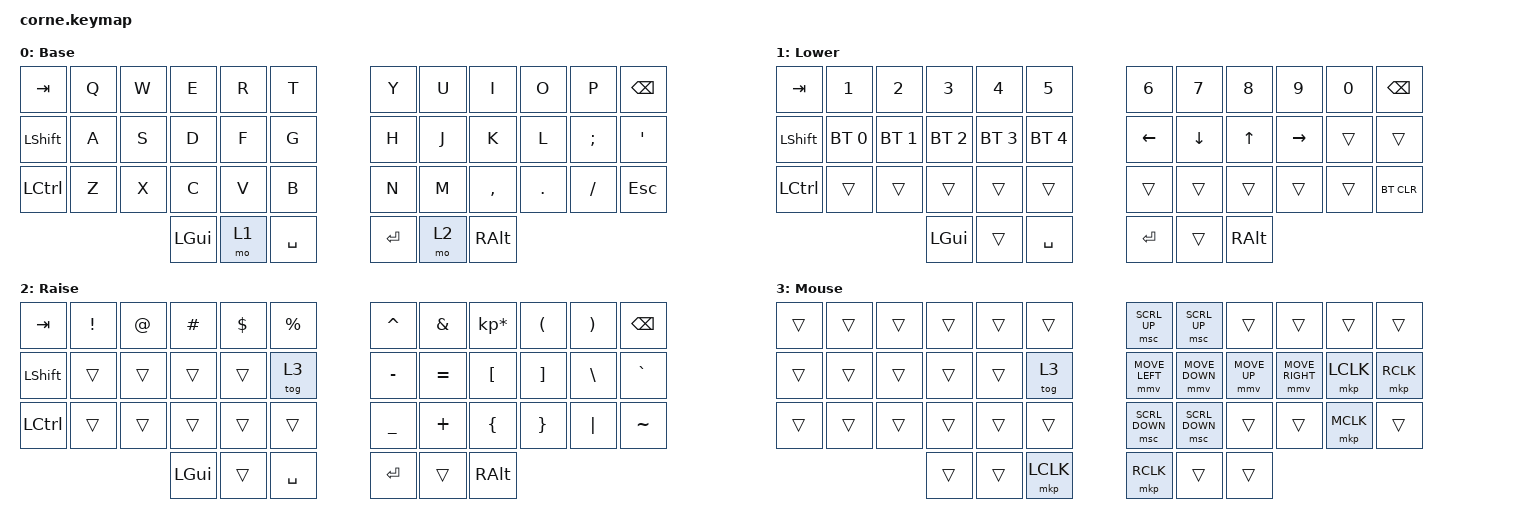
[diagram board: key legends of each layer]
/*
 * Copyright (c) 2020 The ZMK Contributors
 *
 * SPDX-License-Identifier: MIT
 */

#include <behaviors.dtsi>
#include <dt-bindings/zmk/keys.h>
#include <dt-bindings/zmk/bt.h>
#include <dt-bindings/zmk/mouse.h>
#include <dt-bindings/zmk/pointing.h>

/ {
        keymap {
                compatible = "zmk,keymap";

                default_layer {
// -----------------------------------------------------------------------------------------
// |  TAB |  Q  |  W  |  E  |  R  |  T  |   |  Y  |  U   |  I  |  O  |  P  | BKSP |
// | CTRL |  A  |  S  |  D  |  F  |  G  |   |  H  |  J   |  K  |  L  |  ;  |  '   |
// | SHFT |  Z  |  X  |  C  |  V  |  B  |   |  N  |  M   |  ,  |  .  |  /  | ESC  |
//                    | GUI | LWR | SPC |   | ENT | RSE  | ALT |
                        display-name = "Base";
                        bindings = <
   &kp TAB   &kp Q &kp W &kp E &kp R &kp T   &kp Y &kp U  &kp I     &kp O   &kp P    &kp BSPC
   &kp LSHFT &kp A &kp S &kp D &kp F &kp G   &kp H &kp J  &kp K     &kp L   &kp SEMI &kp SQT
   &kp LCTRL &kp Z &kp X &kp C &kp V &kp B   &kp N &kp M  &kp COMMA &kp DOT &kp FSLH &kp ESC
                  &kp LGUI &mo 1 &kp SPACE   &kp RET &mo 2 &kp RALT
                        >;
                };
                lower_layer {
// -----------------------------------------------------------------------------------------
// |  TAB  |  1  |  2  |  3  |  4  |  5  |   |  6  |  7  |  8  |  9  |  0  | BKSP |
// | SHFT  | BT1 | BT2 | BT3 | BT4 | BT5 |   | LFT | DWN |  UP | RGT |     |      |
// | CTRL |     |     |     |     |     |   |     |     |     |     |     |BT_CLR|
//                    | GUI |     | SPC |   | ENT |     | ALT |
                        display-name = "Lower";
                        bindings = <
   &kp TAB    &kp N1       &kp N2       &kp N3       &kp N4       &kp N5         &kp N6   &kp N7   &kp N8 &kp N9    &kp N0 &kp BSPC
   &kp LSHFT  &bt BT_SEL 0 &bt BT_SEL 1 &bt BT_SEL 2 &bt BT_SEL 3 &bt BT_SEL 4   &kp LEFT &kp DOWN &kp UP &kp RIGHT &trans &trans
   &kp LCTRL &trans       &trans       &trans       &trans       &trans         &trans   &trans   &trans &trans    &trans &bt BT_CLR
                          	        &kp LGUI     &trans       &kp SPACE      &kp RET  &trans   &kp RALT
                        >;
                };

                raise_layer {
// -----------------------------------------------------------------------------------------
// |  TAB |  !  |  @  |  #  |  $  |  %  |   |  ^  |  &  |  *  |  (  |  )  | BKSP |
// | CTRL |     |     |     |     | TOG3|   |  -  |  =  |  [  |  ]  |  \  |  `   |
// | SHFT |     |     |     |     |     |   |  _  |  +  |  {  |  }  | "|" |  ~   |
//                    | GUI |     | SPC |   | ENT |     | ALT |
                        display-name = "Raise";
                        bindings = <
   &kp  TAB  &kp EXCL &kp AT &kp HASH &kp DLLR &kp PRCNT   &kp CARET &kp AMPS  &kp KP_MULTIPLY &kp LPAR &kp RPAR &kp BSPC
   &kp LSHFT &trans   &trans &trans   &trans   &tog 3      &kp MINUS &kp EQUAL &kp LBKT        &kp RBKT &kp BSLH &kp GRAVE
   &kp LCTRL &trans   &trans &trans   &trans   &trans      &kp UNDER &kp PLUS  &kp LBRC        &kp RBRC &kp PIPE &kp TILDE
                    	     &kp LGUI &trans   &kp SPACE   &kp RET   &trans    &kp RALT
                        >;
                };

                mouse_layer {
// -----------------------------------------------------------------------------------------
// |      |     |     |     |     | TOG3|   | SCR_U| WH_U|     |     |     |      |
// |      |     |     |     |     |     |   | MS_L | MS_D| MS_U| MS_R| LCLK| RCLK |
// |      |     |     |     |     |     |   | SCR_D| WH_D|     |     | MCLK|      |
//                    |     |     | LCLK|   | RCLK|     |     |
                        display-name = "Mouse";
                        bindings = <
   &trans &trans &trans &trans &trans &trans  &msc SCRL_UP   &msc SCRL_UP   &trans       &trans          &trans    &trans
   &trans &trans &trans &trans &trans &tog 3  &mmv MOVE_LEFT &mmv MOVE_DOWN &mmv MOVE_UP &mmv MOVE_RIGHT &mkp LCLK &mkp RCLK
   &trans &trans &trans &trans &trans &trans  &msc SCRL_DOWN &msc SCRL_DOWN &trans       &trans          &mkp MCLK &trans
                        &trans &trans &mkp LCLK   &mkp RCLK  &trans         &trans
                        >;
                };

                extra_1 {
                        status = "reserved";
                };

                extra_2 {
                        status = "reserved";
                };

                extra_3 {
                        status = "reserved";
                };
        };
};
